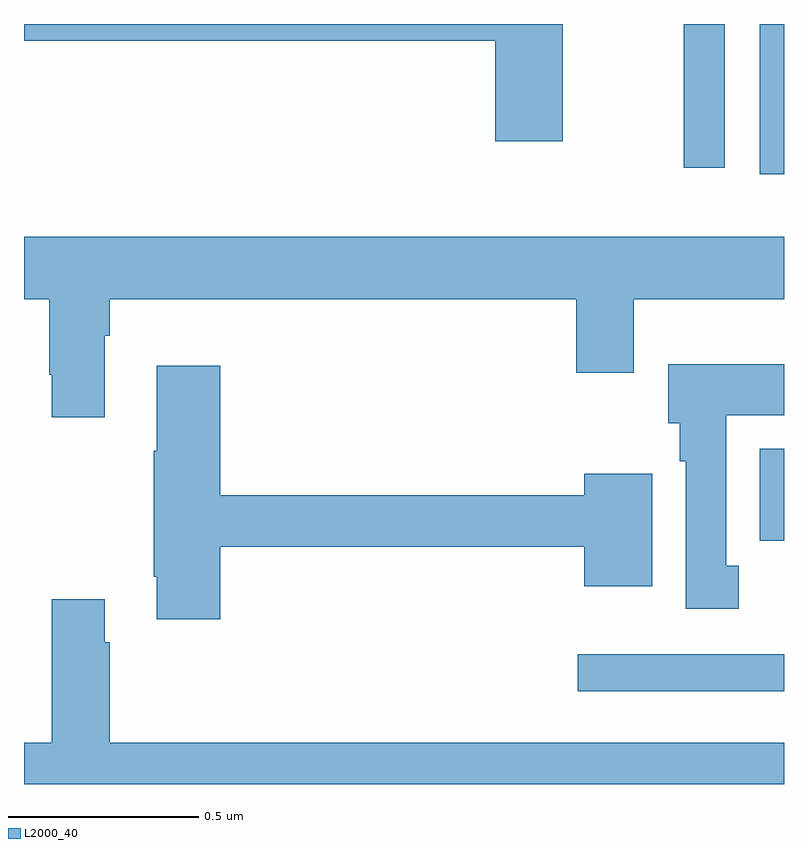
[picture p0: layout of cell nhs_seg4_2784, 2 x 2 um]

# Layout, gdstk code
import gdstk
lib = gdstk.Library(unit=1e-6, precision=1e-09)
def R(c, l, rs):  # rectangles x0, y0, x1, y1
    for r in rs: c.add(gdstk.rectangle(r[:2], r[2:], *l))
def P(c, l, *ps):  # polygons
    for p in ps: c.add(gdstk.Polygon(p, *l))
L2000_40 = (2000, 40)

nhs_seg4_2784 = lib.new_cell('nhs_seg4_2784')
R(nhs_seg4_2784, L2000_40, [(146.457,773.144,147,773.241), (146.936,773.54,147,773.782), (146.936,774.504,147,774.9), (146.736,774.522,146.844,774.9)])
P(nhs_seg4_2784, L2000_40, [(146.418,774.9),(145,774.9),(145,774.856),(146.24,774.856),(146.24,774.591),(146.418,774.591)],
  [(145,774.176),(145.066,774.176),(145.066,773.977),(145.073,773.977),(145.073,773.865),(145.213,773.865),(145.213,774.08),(145.226,774.08),(145.226,774.176),(146.453,774.176),(146.453,773.982),(146.605,773.982),(146.605,774.176),(147,774.176),(147,774.34),(145,774.34)],
  [(146.881,773.474),(146.848,773.474),(146.848,773.87),(147,773.87),(147,774.004),(146.696,774.004),(146.696,773.85),(146.726,773.85),(146.726,773.75),(146.741,773.75),(146.741,773.361),(146.881,773.361)],
  [(145.517,773.524),(146.474,773.524),(146.474,773.42),(146.653,773.42),(146.653,773.716),(146.474,773.716),(146.474,773.66),(145.517,773.66),(145.517,774.001),(145.349,774.001),(145.349,773.777),(145.342,773.777),(145.342,773.446),(145.349,773.446),(145.349,773.334),(145.517,773.334)],
  [(147,773.008),(145.226,773.008),(145.226,773.273),(145.213,773.273),(145.213,773.386),(145.073,773.386),(145.073,773.008),(145,773.008),(145,772.9),(147,772.9)])

lib.write_gds('nhs_seg4_2784.gds')
